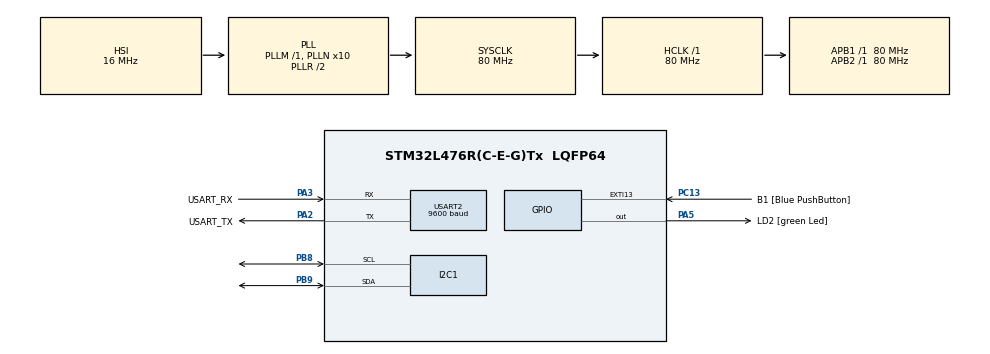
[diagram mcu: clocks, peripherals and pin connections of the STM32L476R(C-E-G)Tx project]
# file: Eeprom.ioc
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Mcu.Family=STM32L4
PA2.GPIO_PuPd=GPIO_NOPULL
RCC.CortexFreq_Value=80000000
PH0-OSC_IN\ (PH0).Signal=RCC_OSC_IN
PA3.GPIO_PuPd=GPIO_NOPULL
PA2.GPIO_Speed=GPIO_SPEED_FREQ_VERY_HIGH
PC15-OSC32_OUT\ (PC15).Mode=LSE-External-Oscillator
PC13.GPIO_Label=B1 [Blue PushButton]
PA3.GPIO_Speed=GPIO_SPEED_FREQ_VERY_HIGH
RCC.SYSCLKSource=RCC_SYSCLKSOURCE_PLLCLK
ProjectManager.StackSize=0x400
PB3\ (JTDO-TRACESWO).Signal=SYS_JTDO-SWO
PC14-OSC32_IN\ (PC14).Mode=LSE-External-Oscillator
PA14\ (JTCK-SWCLK).Signal=SYS_JTCK-SWCLK
RCC.HCLKFreq_Value=80000000
RCC.APB2TimFreq_Value=80000000
RCC.AHBFreq_Value=80000000
RCC.PREFETCH_ENABLE=1
RCC.HSE_VALUE=8000000
USART2.VirtualMode-Asynchronous=VM_ASYNC
PA5.GPIO_PuPd=GPIO_NOPULL
PC13.GPIO_PuPd=GPIO_NOPULL
Mcu.Package=LQFP64
PB9.Signal=I2C1_SDA
PA2.GPIO_Label=USART_TX
RCC.APB1TimFreq_Value=80000000
PA13\ (JTMS-SWDIO).Signal=SYS_JTMS-SWDIO
PA3.Signal=USART2_RX
PA2.GPIO_Mode=GPIO_MODE_AF_PP
RCC.MSI_VALUE=4000000
RCC.PLLSourceVirtual=RCC_PLLSOURCE_HSI
PA14\ (JTCK-SWCLK).Mode=Serial_Wire
PC13.Signal=GPXTI13
PC15-OSC32_OUT\ (PC15).Signal=RCC_OSC32_OUT
PA14\ (JTCK-SWCLK).GPIO_Label=TCK
PB3\ (JTDO-TRACESWO).GPIO_Label=SWO
USART2.BaudRate=9600
PH1-OSC_OUT\ (PH1).Signal=RCC_OSC_OUT
PA3.Mode=Asynchronous
ProjectManager.TargetToolchain=STM32CubeIDE
PA3.GPIO_Mode=GPIO_MODE_AF_PP
PB9.Mode=I2C
I2C1.Timing=0x10909CEC
RCC.USBFreq_Value=64000000
PA5.Signal=GPIO_Output
board=NUCLEO-L476RG
RCC.VCOOutputFreq_Value=160000000
RCC.APB2Freq_Value=80000000
PA5.GPIO_ModeDefaultOutputPP=GPIO_MODE_OUTPUT_PP
PA13\ (JTMS-SWDIO).GPIO_Label=TMS
RCC.ADCFreq_Value=64000000
Mcu.Name=STM32L476R(C-E-G)Tx
PA2.Signal=USART2_TX
PA13\ (JTMS-SWDIO).Mode=Serial_Wire
RCC.SYSCLKFreq_VALUE=80000000
PA5.GPIO_Label=LD2 [green Led]
PC13.GPIO_ModeDefaultEXTI=GPIO_MODE_IT_FALLING
PC14-OSC32_IN\ (PC14).Signal=RCC_OSC32_IN
ProjectManager.HeapSize=0x200
RCC.HSI_VALUE=16000000
PA5.GPIO_Speed=GPIO_SPEED_FREQ_LOW
NVIC.PriorityGroup=NVIC_PRIORITYGROUP_4
RCC.PLLN=10
PB8.Mode=I2C
PA2.Mode=Asynchronous
PB8.Signal=I2C1_SCL
RCC.APB1Freq_Value=80000000
PA3.GPIO_Label=USART_RX

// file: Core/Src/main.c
/* USER CODE BEGIN Header */
/**
  ******************************************************************************
  * @file           : main.c
  * @brief          : Main program body
  ******************************************************************************
  * @attention
  *
  * <h2><center>&copy; Copyright (c) 2021 STMicroelectronics.
  * All rights reserved.</center></h2>
  *
  * This software component is licensed by ST under BSD 3-Clause license,
  * the "License"; You may not use this file except in compliance with the
  * License. You may obtain a copy of the License at:
  *                        opensource.org/licenses/BSD-3-Clause
  *
  ******************************************************************************
  */
/* USER CODE END Header */
#include "main.h"

/* USER CODE BEGIN Includes */
#include "string.h"
#include "debug.h"

#define LED GPIO_PIN_5
char I2C_ADDRESS = 0xA0;
/* USER CODE END Includes */

I2C_HandleTypeDef hi2c1;

UART_HandleTypeDef huart2;

void SystemClock_Config(void);
static void MX_GPIO_Init(void);
static void MX_USART2_UART_Init(void);
static void MX_I2C1_Init(void);

/* USER CODE BEGIN 0 */

// This function reads from the specified memory location Memloc
// The upper and lower memory addresses are stored in data[0] and data[1]
void READ (uint16_t Memloc, uint8_t *pData, uint16_t len)
{
	uint8_t addr[2];
	addr[0] = (uint8_t) ((Memloc & 0xFF00) >> 8);
	addr[1] = (uint8_t) (Memloc & 0xFF);
	HAL_I2C_Master_Transmit(&hi2c1, I2C_ADDRESS, addr, 2, HAL_MAX_DELAY);
	HAL_I2C_Master_Receive(&hi2c1, I2C_ADDRESS, pData, len, HAL_MAX_DELAY);
}

void WRITE (uint16_t Memloc, uint8_t *pData, uint16_t len)
{
	uint8_t data[5];

	data[0] = (uint8_t) ((Memloc & 0xFF00) >> 8);
	data[1] = (uint8_t) (Memloc & 0xFF);
	memcpy(data+2, pData, len);
	HAL_I2C_Master_Transmit(&hi2c1, I2C_ADDRESS, data, len + 2, HAL_MAX_DELAY);
	while (HAL_I2C_Master_Transmit(&hi2c1, I2C_ADDRESS, 0, 0, HAL_MAX_DELAY) != HAL_OK);

}
/* USER CODE END 0 */

int main(void)
{
  /* USER CODE BEGIN 1 */
	int count = 0, i = 0;
	// data to store (write message)
	char wmsg[] = { '1','2', 'a', '4', '5'};
	uint8_t len = strlen(wmsg)-1;
	// empty read message
	char rmsg[5];

  /* USER CODE END 1 */

  /* MCU Configuration--------------------------------------------------------*/

  /* Reset of all peripherals, Initializes the Flash interface and the Systick. */
  HAL_Init();

  /* Configure the system clock */
  SystemClock_Config();

  /* Initialize all configured peripherals */
  MX_GPIO_Init();
  MX_USART2_UART_Init();
  MX_I2C1_Init();
  /* USER CODE BEGIN 2 */

  WRITE(0x0000, (uint8_t*)wmsg, len);
  UART_SEND_TXT(&huart2, "Write data", 1);
  UART_SEND_Any(&huart2, 1, wmsg, 1);
  HAL_Delay(5000);
  READ(0x0000, (uint8_t*)rmsg, len);
  UART_SEND_TXT(&huart2, "Read data", 1);
  UART_SEND_Any(&huart2, 1, rmsg, 1);

  count = 10*(rmsg[0]-'0') + rmsg[1]-'0';
  for(i = 0; i <count; i++)
  {
	  HAL_GPIO_TogglePin(GPIOA, LED);
	  HAL_Delay(1000);
  }

  /* USER CODE END 2 */

  /* Infinite loop */
  while (1)
  {

  }
}

void SystemClock_Config(void)
{
  RCC_OscInitTypeDef RCC_OscInitStruct = {0};
  RCC_ClkInitTypeDef RCC_ClkInitStruct = {0};
  RCC_PeriphCLKInitTypeDef PeriphClkInit = {0};

  /** Initializes the RCC Oscillators according to the specified parameters
  * in the RCC_OscInitTypeDef structure.
  */
  RCC_OscInitStruct.OscillatorType = RCC_OSCILLATORTYPE_HSI;
  RCC_OscInitStruct.HSIState = RCC_HSI_ON;
  RCC_OscInitStruct.HSICalibrationValue = RCC_HSICALIBRATION_DEFAULT;
  RCC_OscInitStruct.PLL.PLLState = RCC_PLL_ON;
  RCC_OscInitStruct.PLL.PLLSource = RCC_PLLSOURCE_HSI;
  RCC_OscInitStruct.PLL.PLLM = 1;
  RCC_OscInitStruct.PLL.PLLN = 10;
  RCC_OscInitStruct.PLL.PLLP = RCC_PLLP_DIV7;
  RCC_OscInitStruct.PLL.PLLQ = RCC_PLLQ_DIV2;
  RCC_OscInitStruct.PLL.PLLR = RCC_PLLR_DIV2;
  if (HAL_RCC_OscConfig(&RCC_OscInitStruct) != HAL_OK)
  {
    Error_Handler();
  }
  /** Initializes the CPU, AHB and APB buses clocks
  */
  RCC_ClkInitStruct.ClockType = RCC_CLOCKTYPE_HCLK|RCC_CLOCKTYPE_SYSCLK
                              |RCC_CLOCKTYPE_PCLK1|RCC_CLOCKTYPE_PCLK2;
  RCC_ClkInitStruct.SYSCLKSource = RCC_SYSCLKSOURCE_PLLCLK;
  RCC_ClkInitStruct.AHBCLKDivider = RCC_SYSCLK_DIV1;
  RCC_ClkInitStruct.APB1CLKDivider = RCC_HCLK_DIV1;
  RCC_ClkInitStruct.APB2CLKDivider = RCC_HCLK_DIV1;

  if (HAL_RCC_ClockConfig(&RCC_ClkInitStruct, FLASH_LATENCY_4) != HAL_OK)
  {
    Error_Handler();
  }
  PeriphClkInit.PeriphClockSelection = RCC_PERIPHCLK_USART2|RCC_PERIPHCLK_I2C1;
  PeriphClkInit.Usart2ClockSelection = RCC_USART2CLKSOURCE_PCLK1;
  PeriphClkInit.I2c1ClockSelection = RCC_I2C1CLKSOURCE_PCLK1;
  if (HAL_RCCEx_PeriphCLKConfig(&PeriphClkInit) != HAL_OK)
  {
    Error_Handler();
  }
  /** Configure the main internal regulator output voltage
  */
  if (HAL_PWREx_ControlVoltageScaling(PWR_REGULATOR_VOLTAGE_SCALE1) != HAL_OK)
  {
    Error_Handler();
  }
}

static void MX_I2C1_Init(void)
{

  hi2c1.Instance = I2C1;
  hi2c1.Init.Timing = 0x10909CEC;
  hi2c1.Init.OwnAddress1 = 0;
  hi2c1.Init.AddressingMode = I2C_ADDRESSINGMODE_7BIT;
  hi2c1.Init.DualAddressMode = I2C_DUALADDRESS_DISABLE;
  hi2c1.Init.OwnAddress2 = 0;
  hi2c1.Init.OwnAddress2Masks = I2C_OA2_NOMASK;
  hi2c1.Init.GeneralCallMode = I2C_GENERALCALL_DISABLE;
  hi2c1.Init.NoStretchMode = I2C_NOSTRETCH_DISABLE;
  if (HAL_I2C_Init(&hi2c1) != HAL_OK)
  {
    Error_Handler();
  }
  /** Configure Analogue filter
  */
  if (HAL_I2CEx_ConfigAnalogFilter(&hi2c1, I2C_ANALOGFILTER_ENABLE) != HAL_OK)
  {
    Error_Handler();
  }
  /** Configure Digital filter
  */
  if (HAL_I2CEx_ConfigDigitalFilter(&hi2c1, 0) != HAL_OK)
  {
    Error_Handler();
  }

}

static void MX_USART2_UART_Init(void)
{

  huart2.Instance = USART2;
  huart2.Init.BaudRate = 9600;
  huart2.Init.WordLength = UART_WORDLENGTH_8B;
  huart2.Init.StopBits = UART_STOPBITS_1;
  huart2.Init.Parity = UART_PARITY_NONE;
  huart2.Init.Mode = UART_MODE_TX_RX;
  huart2.Init.HwFlowCtl = UART_HWCONTROL_NONE;
  huart2.Init.OverSampling = UART_OVERSAMPLING_16;
  huart2.Init.OneBitSampling = UART_ONE_BIT_SAMPLE_DISABLE;
  huart2.AdvancedInit.AdvFeatureInit = UART_ADVFEATURE_NO_INIT;
  if (HAL_UART_Init(&huart2) != HAL_OK)
  {
    Error_Handler();
  }

}

static void MX_GPIO_Init(void)
{
  GPIO_InitTypeDef GPIO_InitStruct = {0};

  /* GPIO Ports Clock Enable */
  __HAL_RCC_GPIOC_CLK_ENABLE();
  __HAL_RCC_GPIOH_CLK_ENABLE();
  __HAL_RCC_GPIOA_CLK_ENABLE();
  __HAL_RCC_GPIOB_CLK_ENABLE();

  /*Configure GPIO pin Output Level */
  HAL_GPIO_WritePin(LD2_GPIO_Port, LD2_Pin, GPIO_PIN_RESET);

  /*Configure GPIO pin : B1_Pin */
  GPIO_InitStruct.Pin = B1_Pin;
  GPIO_InitStruct.Mode = GPIO_MODE_IT_FALLING;
  GPIO_InitStruct.Pull = GPIO_NOPULL;
  HAL_GPIO_Init(B1_GPIO_Port, &GPIO_InitStruct);

  /*Configure GPIO pin : LD2_Pin */
  GPIO_InitStruct.Pin = LD2_Pin;
  GPIO_InitStruct.Mode = GPIO_MODE_OUTPUT_PP;
  GPIO_InitStruct.Pull = GPIO_NOPULL;
  GPIO_InitStruct.Speed = GPIO_SPEED_FREQ_LOW;
  HAL_GPIO_Init(LD2_GPIO_Port, &GPIO_InitStruct);

}

void Error_Handler(void)
{
}

/************************ (C) COPYRIGHT STMicroelectronics *****END OF FILE****/
